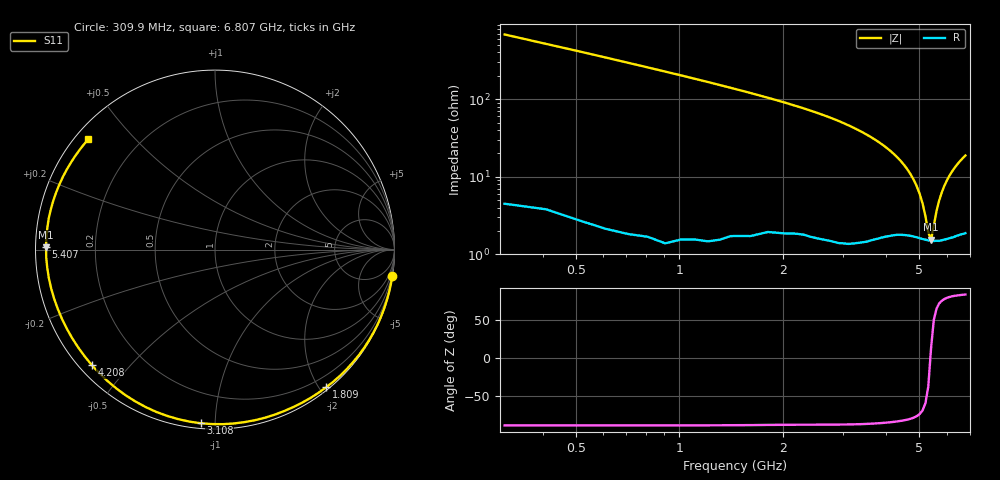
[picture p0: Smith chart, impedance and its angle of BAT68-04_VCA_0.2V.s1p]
! Infineon Technologies  Discrete & RF Semiconductors
! BAT68-04
! VCA = 0.2 V
! One-Port S-Parameters
# Hz  S  MA  R  50
!f  S11
!Hz  Mag  Ang
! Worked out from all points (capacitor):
!   66 points, 309.9 MHz to 6.807 GHz, reference 50 ohm
!   read as one part to ground: C = 749 fF near 309.9 MHz
!   lowest |Z| = 1.55 ohm at 5.407 GHz (marker M1)
!   series resonance near 5.384 GHz, so ESL is about 1.2 nH
!   S11 on the Smith chart (normalised r, x): 309.9 MHz: 0, -14; 1.809 GHz: 0.04, -2.09; 3.108 GHz: 0.03, -0.92; 4.208 GHz: 0.04, -0.39; 5.407 GHz: 0.03, +0.01; 6.807 GHz: 0.04, +0.37
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3.0985e8  0.999 -8.4
6.097e8  0.9982 -16.5
8.096e8  0.9975 -22.0
1.0095e9  0.9965 -27.7
1.2094e9  0.9951 -33.4
1.50925e9  0.9911 -42.2
1.8091e9  0.9856 -51.1
2.009e9  0.983 -57.2
2.4088e9  0.978 -70.1
2.6087e9  0.9762 -76.8
2.8086e9  0.9744 -83.8
3.10845e9  0.9709 -94.7
3.30835e9  0.9665 -102.3
3.50825e9  0.9617 -110.0
3.6082e9  0.9584 -113.8
3.90805e9  0.9489 -125.4
4.2079e9  0.9407 -137.0
4.4078e9  0.9371 -144.6
4.6077e9  0.9357 -152.1
4.8076e9  0.9363 -159.4
5.0075e9  0.938 -166.7
5.2074e9  0.9401 -173.9
5.4073e9  0.9414 179.2
5.70715e9  0.9426 169.3
6.007e9  0.9406 160.1
6.2069e9  0.9394 154.4
6.4068e9  0.9378 149.0
6.8066e9  0.9363 138.9
